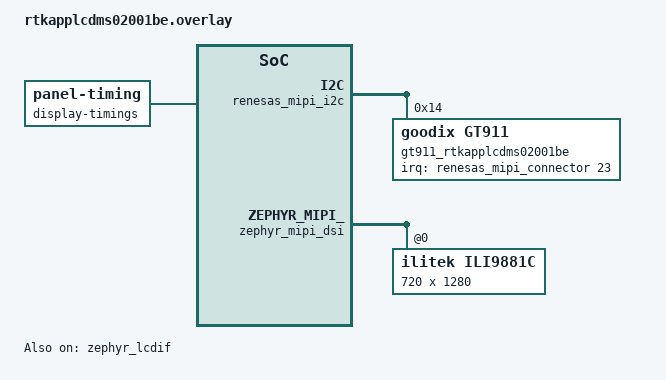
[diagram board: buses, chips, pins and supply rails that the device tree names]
/*
 * SPDX-FileCopyrightText: 2026 Renesas Electronics Corporation
 *
 * SPDX-License-Identifier: Apache-2.0
 */

#include <zephyr/dt-bindings/display/panel.h>

/ {
	chosen {
		zephyr,display = &zephyr_lcdif;
	};

	lvgl_pointer {
		compatible = "zephyr,lvgl-pointer-input";
		input = <&gt911_rtkapplcdms02001be>;
	};
};

&renesas_mipi_i2c {
	status = "okay";

	gt911_rtkapplcdms02001be: touch-controller@14 {
		compatible = "goodix,gt911";
		reg = <0x14>;
		irq-gpios = <&renesas_mipi_connector 23 GPIO_ACTIVE_HIGH>;
	};
};

&zephyr_mipi_dsi {
	status = "okay";

	ili9881c: panel-controller@0 {
		compatible = "ilitek,ili9881c";
		reg = <0x0>;
		height = <1280>;
		width = <720>;
		data-lanes = <4>;
		pixel-format = <MIPI_DSI_PIXFMT_RGB888>;
		init-seq = [
			    /* Change to Page 3 CMD */
			    ff 03 98 81 03
			    /* GIP_1 */
			    01 01 00
			    02 01 00
			    03 01 72
			    04 01 00
			    05 01 00
			    06 01 09
			    07 01 00
			    08 01 00
			    09 01 01
			    0a 01 00
			    0b 01 00
			    0c 01 01
			    0d 01 00
			    0e 01 00
			    0f 01 00
			    10 01 00
			    11 01 00
			    12 01 00
			    13 01 00
			    14 01 00
			    15 01 00
			    16 01 00
			    17 01 00
			    18 01 00
			    19 01 00
			    1a 01 00
			    1b 01 00
			    1c 01 00
			    1d 01 00
			    1e 01 40
			    1f 01 80
			    20 01 05
			    21 01 02
			    22 01 00
			    23 01 00
			    24 01 00
			    25 01 00
			    26 01 00
			    27 01 00
			    28 01 33
			    29 01 02
			    2a 01 00
			    2b 01 00
			    2c 01 00
			    2d 01 00
			    2e 01 00
			    2f 01 00
			    30 01 00
			    31 01 00
			    32 01 00
			    32 01 00
			    33 01 00
			    34 01 04
			    35 01 00
			    36 01 00
			    37 01 00
			    38 01 3c
			    39 01 00
			    3a 01 40
			    3b 01 40
			    3c 01 00
			    3d 01 00
			    3e 01 00
			    3f 01 00
			    40 01 00
			    41 01 00
			    42 01 00
			    43 01 00
			    44 01 00
			    /* GIP_2 */
			    50 01 01
			    51 01 23
			    52 01 45
			    53 01 67
			    54 01 89
			    55 01 ab
			    56 01 01
			    57 01 23
			    58 01 45
			    59 01 67
			    5a 01 89
			    5b 01 ab
			    5c 01 cd
			    5d 01 ef
			    /* GIP_3 */
			    5e 01 11
			    5f 01 01
			    60 01 00
			    61 01 15
			    62 01 14
			    63 01 0e
			    64 01 0f
			    65 01 0c
			    66 01 0d
			    67 01 06
			    68 01 02
			    69 01 07
			    6a 01 02
			    6b 01 02
			    6c 01 02
			    6d 01 02
			    6e 01 02
			    6f 01 02
			    70 01 02
			    71 01 02
			    72 01 02
			    73 01 02
			    74 01 02
			    75 01 01
			    76 01 00
			    77 01 14
			    78 01 15
			    79 01 0e
			    7a 01 0f
			    7b 01 0c
			    7c 01 0d
			    7d 01 06
			    7e 01 02
			    7f 01 07
			    80 01 02
			    81 01 02
			    83 01 02
			    84 01 02
			    85 01 02
			    86 01 02
			    87 01 02
			    88 01 02
			    89 01 02
			    8a 01 02
			    /* Change to Page 4 CMD */
			    ff 03 98 81 04
			    /* 6Ch: VCORE setting */
			    6c 01 15  /* 1.5 V*/
			    /* 6Eh Power Control 2 */
			    6e 01 2a  /* VGH 15V */
			    /* 6Fh: Power Control 3 */
			    6f 01 33
			    3a 01 94
			    /* 8Dh: Power Control 4 */
			    8d 01 15  /* VGL 10.23V */
			    87 01 ba
			    26 01 76
			    b2 01 d1
			    b5 01 06
			    /* Change to Page 1 CMD */
			    ff 03 98 81 01
			    /* 22h: Panel Operation Mode */
			    22 01 0a  /* BGR_PANEL | SS_PANEL */
			    /* 31h: Display Inversion Control */
			    31 01 00  /* Column inversion */
			    /* 53h/55h: VCOM Control 1 */
			    53 01 a5  /* VCOM forward scan 1.992V */
			    55 01 a2  /* VCOM backward scan 1.956V */
			    /* 50h/51h: Power Control 1 */
			    50 01 b7  /* VREG1OUT 4.896V */
			    51 01 b7  /* VREG2IUT -4.896V */
			    /* 60h..63h: Source Timing SDT/CRT/EQT/PCT, TOP_CLK = 62.5ns */
			    60 01 22
			    61 01 00
			    62 01 19
			    63 01 10
			    /* A0h..B3h: Positive Gamma Correction */
			    a0 01 08  /* VP0 */
			    a1 01 17  /* VP4 */
			    a2 01 1e  /* VP8 */
			    a3 01 0e  /* VP12 */
			    a4 01 13  /* VP16 */
			    a5 01 24  /* VP24 */
			    a6 01 1b  /* VP36 */
			    a7 01 1b  /* VP52 */
			    a8 01 53  /* VP80 */
			    a9 01 1b  /* VP111 */
			    aa 01 28  /* VP144 */
			    ab 01 45  /* VP175 */
			    ac 01 1a  /* VP203 */
			    ad 01 1a  /* VP219 */
			    ae 01 50  /* VP231 */
			    af 01 21  /* VP239 */
			    b0 01 2c  /* VP243 */
			    b1 01 3b  /* VP247 */
			    b2 01 63  /* VP251 */
			    b3 01 39  /* VP255 */
			    /* C0h..D3h: Negative Gamma Correction */
			    c0 01 08  /* VN0 */
			    c1 01 0c  /* VN4 */
			    c2 01 17  /* VN8 */
			    c3 01 0f  /* VN12 */
			    c4 01 0b  /* VN16 */
			    c5 01 1c  /* VN24 */
			    c6 01 10  /* VN36 */
			    c7 01 16  /* VN52 */
			    c8 01 5b  /* VN80 */
			    c9 01 1a  /* VN111 */
			    ca 01 26  /* VN144 */
			    cb 01 55  /* VN175 */
			    cc 01 1d  /* VN203 */
			    cd 01 1e  /* VN219 */
			    ce 01 52  /* VN231 */
			    cf 01 26  /* VN239 */
			    d0 01 29  /* VN243 */
			    d1 01 45  /* VN247 */
			    d2 01 63  /* VN251 */
			    d3 01 39  /* VN255 */
			    /* Change to Page 0 CMD */
			    ff 03 98 81 00];
		status = "okay";
	};
};

&zephyr_lcdif {
	width = <720>;
	height = <1280>;
	input-pixel-format = <PANEL_PIXEL_FORMAT_RGB_888>;
	pixel-format = <PANEL_PIXEL_FORMAT_RGB_888>;

	backlight-gpios = <&renesas_mipi_connector 21 GPIO_ACTIVE_HIGH>;
	status = "okay";

	display-timings {
		compatible = "zephyr,panel-timing";
		hsync-len = <33>;
		hback-porch = <100>;
		vsync-len = <2>;
		vback-porch = <30>;
		hsync-active = <1>;
		vsync-active = <1>;
		de-active = <1>;
		pixelclk-active = <0>;
		syncclk-active = <1>;
		hfront-porch = <133>;
		vfront-porch = <22>;
	};
};
